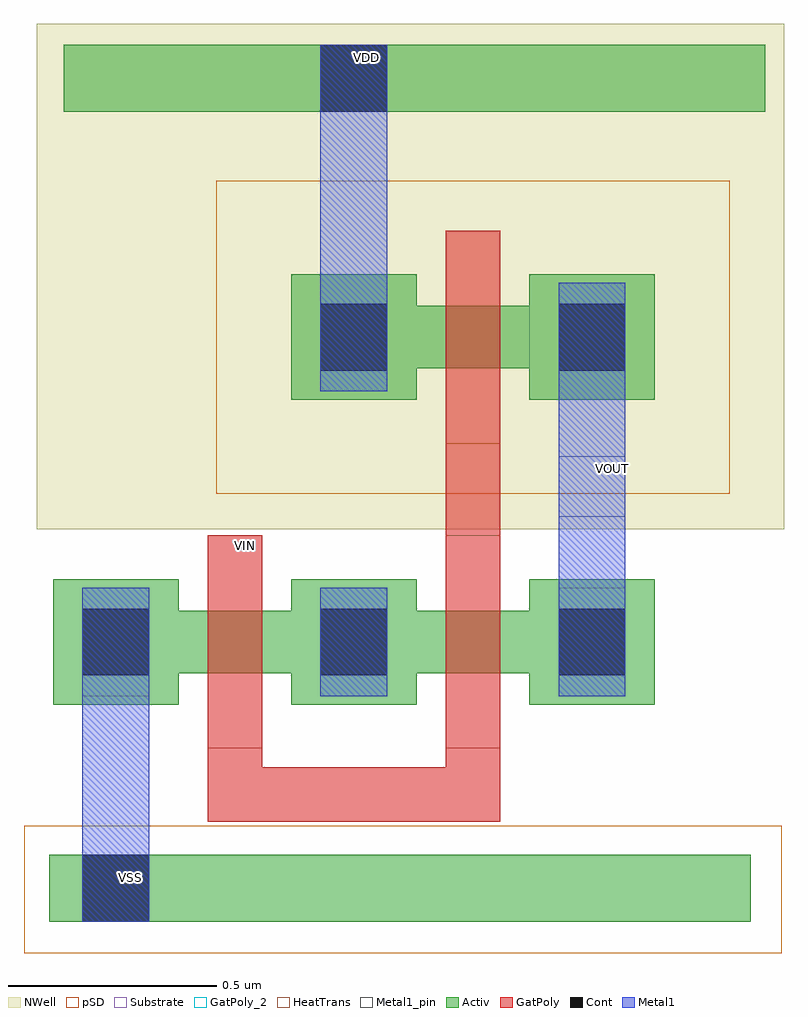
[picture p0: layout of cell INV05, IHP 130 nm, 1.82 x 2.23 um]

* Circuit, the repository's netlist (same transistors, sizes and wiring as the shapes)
* Extracted by KLayout with SG13G2 LVS runset on : 25/01/2026 18:00

.SUBCKT INV05
M$1 \$1 \$5 \$3 \$1 sg13_lv_nmos L=0.13u W=0.15u AS=0.1005p AD=0.0555p PS=1.34u
+ PD=0.74u
M$2 \$3 \$5 \$4 \$1 sg13_lv_nmos L=0.13u W=0.15u AS=0.0555p AD=0.1005p PS=0.74u
+ PD=1.34u
M$3 \$2 \$5 \$4 \$2 sg13_lv_pmos L=0.13u W=0.15u AS=0.1005p AD=0.1005p PS=1.34u
+ PD=1.34u
.ENDS INV05

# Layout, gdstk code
import gdstk
lib = gdstk.Library(unit=1e-6, precision=5e-09)
def R(c, l, rs):  # rectangles x0, y0, x1, y1
    for r in rs: c.add(gdstk.rectangle(r[:2], r[2:], *l))
Activ = (1, 0)
GatPoly = (5, 0)
GatPoly_2 = (5, 2)
Cont = (6, 0)
Metal1 = (8, 0)
Metal1_pin = (8, 2)
pSD = (14, 0)
NWell = (31, 0)
Substrate = (40, 0)
HeatTrans = (51, 0)

pmos = lib.new_cell('pmos')
R(pmos, Activ, [(0,0,0.3,0.3), (0.57,0,0.87,0.3), (0,0.075,0.87,0.225)])
R(pmos, GatPoly, [(0.37,-0.105,0.5,0.405), (0.37,-0.105,0.5,0.405)])
R(pmos, Cont, [(0.07,0.07,0.23,0.23), (0.64,0.07,0.8,0.23)])
R(pmos, Metal1, [(0.07,0.02,0.23,0.28), (0.07,0.02,0.23,0.28), (0.64,0.02,0.8,0.28), (0.64,0.02,0.8,0.28)])
R(pmos, pSD, [(-0.18,-0.225,1.05,0.525)])
R(pmos, NWell, [(-0.31,-0.31,1.18,0.61)])
R(pmos, Substrate, [(0.57,0,0.87,0.3)])
R(pmos, HeatTrans, [(0.37,-0.105,0.5,0.405)])
pmos.add(gdstk.Label('pmos', (0.435,0.15), layer=63, texttype=0))
pmos.add(gdstk.Label('pmos', (0.435,0.15), layer=51, texttype=0))

nmos = lib.new_cell('nmos')
R(nmos, Activ, [(0,0,0.3,0.3), (0.57,0,0.87,0.3), (0,0.075,0.87,0.225)])
R(nmos, GatPoly, [(0.37,-0.105,0.5,0.405)])
R(nmos, GatPoly_2, [(0.37,-0.105,0.5,0.405)])
R(nmos, Cont, [(0.07,0.07,0.23,0.23), (0.64,0.07,0.8,0.23)])
R(nmos, Metal1, [(0.07,0.02,0.23,0.28), (0.64,0.02,0.8,0.28)])
R(nmos, Metal1_pin, [(0.07,0.02,0.23,0.28), (0.64,0.02,0.8,0.28)])
R(nmos, HeatTrans, [(0.37,-0.105,0.5,0.405)])
nmos.add(gdstk.Label('nmos', (0.435,0.15), layer=63, texttype=0))
nmos.add(gdstk.Label('nmos', (0.435,0.15), layer=51, texttype=0))

inv05 = lib.new_cell('INV05')
R(inv05, Activ, [(-0.47,-1.255,1.21,-1.095), (-0.435,0.685,1.245,0.845)])
R(inv05, GatPoly_2, [(-0.09,-0.45,0.04,-0.33)])
R(inv05, Cont, [(-0.39,-1.255,-0.23,-1.095), (0.18,0.685,0.34,0.845)])
R(inv05, Metal1_pin, [(-0.39,-1.255,-0.23,-1.095), (0.75,-0.285,0.91,-0.14), (0.18,0.685,0.34,0.845)])
R(inv05, pSD, [(-0.53,-1.33,1.285,-1.025)])
R(inv05, NWell, [(-0.5,-0.315,-0.2,0.605), (-0.5,0.605,1.29,0.895)])
inv05.add(gdstk.FlexPath([(-0.025,-0.84),(-0.025,-0.95),(0.545,-0.95),(0.545,-0.84)], 0.13, ends="flush", simple_path=True, layer=5, datatype=0))  # GatPoly
inv05.add(gdstk.FlexPath([(0.545,-0.33),(0.545,-0.11)], 0.13, ends="flush", simple_path=True, layer=5, datatype=0))  # GatPoly
inv05.add(gdstk.FlexPath([(0.83,-0.455),(0.83,0.015)], 0.16, ends="flush", simple_path=True, layer=8, datatype=0))  # Metal1
inv05.add(gdstk.FlexPath([(-0.31,-1.255),(-0.31,-0.715)], 0.16, ends="flush", simple_path=True, layer=8, datatype=0))  # Metal1
inv05.add(gdstk.FlexPath([(0.26,0.275),(0.26,0.845)], 0.16, ends="flush", simple_path=True, layer=8, datatype=0))  # Metal1
inv05.add(gdstk.Reference(pmos, (0.11,-0.005)))
inv05.add(gdstk.Reference(nmos, (-0.46,-0.735)))
inv05.add(gdstk.Reference(nmos, (0.11,-0.735)))
inv05.add(gdstk.Label('VOUT', (0.88,-0.17), layer=8, texttype=2))
inv05.add(gdstk.Label('VSS', (-0.275,-1.15), layer=8, texttype=2))
inv05.add(gdstk.Label('VDD', (0.29,0.815), layer=8, texttype=2))
inv05.add(gdstk.Label('VIN', (0,-0.355), layer=5, texttype=2))

lib.write_gds('INV05.gds')
